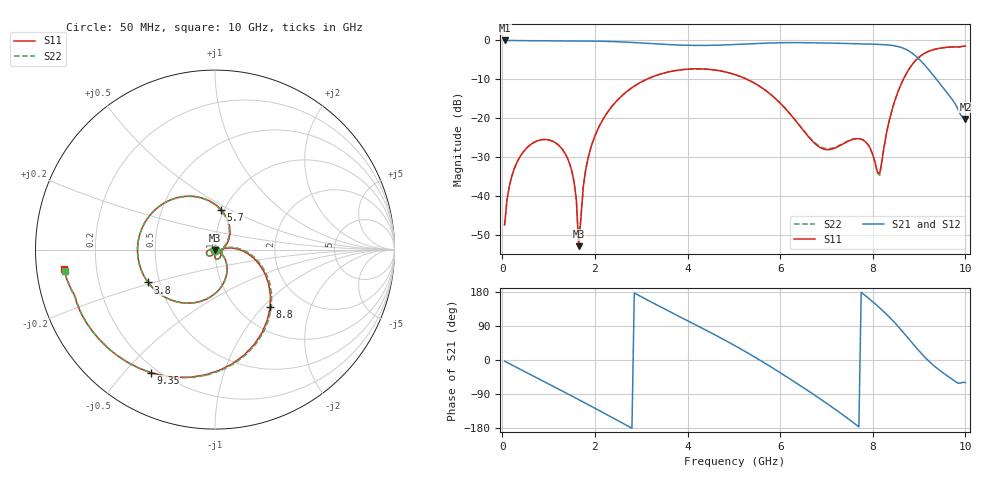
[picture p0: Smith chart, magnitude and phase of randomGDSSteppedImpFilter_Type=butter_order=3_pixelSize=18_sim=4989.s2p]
! freq	dB(S11)	phase(S11)	dB(S12)	phase(S12)
!  dB(S21)	phase(S21)	dB(S22)	phase(S22)
!S-par simulation data
#  GHz  S  DB  R 50
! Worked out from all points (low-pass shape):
!   200 points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, 50 MHz to 10 GHz, reference 50 ohm
!   highest |S21| = 0.00 dB at 50 MHz (marker M1); lowest = -20.2 dB at 10 GHz (marker M2)
!   |S21| within 3 dB of the highest: start of sweep to 8.817 GHz
!   lowest |S11| = -52.9 dB at 1.65 GHz (marker M3), VSWR 1.00, Z = 49.8 - j0.162 ohm
!   |S11| at or under -10 dB: start of sweep to 3.115 GHz; 5.285 GHz to 8.66 GHz (3.375 GHz wide, 48.4 % of centre)
!   |S22| runs from -52.6 to -1.4 dB; largest |S21 - S12| = 0
!   S11 on the Smith chart (normalised r, x): 50 MHz: 1.00, -0.01; 3.8 GHz: 0.43, -0.19; 5.7 GHz: 0.97, +0.45; 8.8 GHz: 1.38, -1.10; 9.35 GHz: 0.17, -0.59; 10 GHz: 0.08, -0.06
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0.05  -47.43 -86.7  -0.00 -3.2  -0.00 -3.2  -47.44 -86.7
0.15  -37.56 -96.9  -0.02 -9.6  -0.02 -9.6  -37.56 -96.9
0.35  -30.55 -111.4  -0.05 -22.2  -0.05 -22.2  -30.55 -111.4
1.05  -25.73 -156.7  -0.09 -66.3  -0.09 -66.3  -25.73 -156.5
1.5  -33.51 175.0  -0.12 -94.9  -0.12 -94.9  -33.51 175.8
1.6  -41.08 169.1  -0.12 -101.3  -0.12 -101.3  -41.09 171.1
1.65  -52.87 -134.5  -0.13 -104.5  -0.13 -104.5  -52.61 -141.1
1.75  -37.55 -21.9  -0.14 -111.0  -0.14 -111.0  -37.53 -23.4
1.95  -26.17 -34.5  -0.16 -124.0  -0.16 -124.0  -26.17 -35.0
2.25  -18.86 -54.2  -0.24 -143.7  -0.24 -143.7  -18.86 -54.4
2.8  -12.14 -90.5  -0.51 -180.0  -0.51 -180.0  -12.14 -90.6
3.4  -8.70 -129.0  -0.94 141.3  -0.94 141.3  -8.69 -129.0
3.8  -7.63 -153.9  -1.17 116.2  -1.17 116.2  -7.63 -153.8
5.05  -8.88 126.9  -1.03 36.0  -1.03 36.0  -8.88 127.3
5.7  -12.97 81.3  -0.68 -10.6  -0.68 -10.6  -12.97 82.3
6.7  -25.92 9.9  -0.60 -89.1  -0.60 -89.1  -25.74 15.9
7.65  -25.25 -71.9  -0.85 -171.8  -0.85 -171.8  -25.18 -68.6
8.15  -34.15 -32.1  -1.03 137.6  -1.03 137.6  -34.64 -30.3
8.35  -20.87 5.9  -1.18 114.2  -1.18 114.2  -20.93 8.3
8.8  -7.05 -46.2  -2.87 52.4  -2.87 52.4  -7.06 -44.8
9.35  -2.24 -117.6  -9.60 -18.1  -9.60 -18.1  -2.25 -116.6
10  -1.44 -172.6  -20.19 -59.6  -20.19 -59.6  -1.45 -171.8
